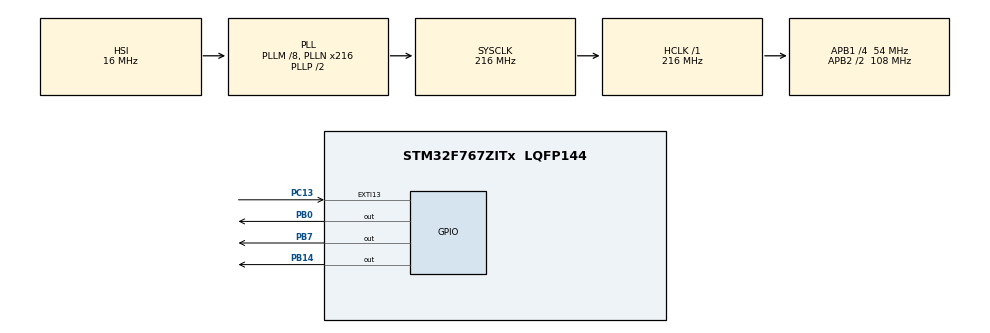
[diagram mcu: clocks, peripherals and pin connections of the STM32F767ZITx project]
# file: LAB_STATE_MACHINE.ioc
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CORTEX_M7.default_mode_Activation=1
Mcu.Family=STM32F7
Mcu.Name=STM32F767ZITx
Mcu.Package=LQFP144
NVIC.EXTI15_10_IRQn=true\:1\:0\:true\:false\:true\:true\:true\:true
NVIC.PriorityGroup=NVIC_PRIORITYGROUP_1
PB0.Signal=GPIO_Output
PB14.Signal=GPIO_Output
PB7.Signal=GPIO_Output
PC13.Signal=GPXTI13
ProjectManager.HeapSize=0x200
ProjectManager.StackSize=0x400
ProjectManager.TargetToolchain=STM32CubeIDE
RCC.AHBFreq_Value=216000000
RCC.APB1CLKDivider=RCC_HCLK_DIV4
RCC.APB1Freq_Value=54000000
RCC.APB1TimFreq_Value=108000000
RCC.APB2CLKDivider=RCC_HCLK_DIV2
RCC.APB2Freq_Value=108000000
RCC.APB2TimFreq_Value=216000000
RCC.CortexFreq_Value=216000000
RCC.HCLKFreq_Value=216000000
RCC.HSE_VALUE=25000000
RCC.HSI_VALUE=16000000
RCC.LSE_VALUE=32768
RCC.PLLM=8
RCC.PLLN=216
RCC.SYSCLKFreq_VALUE=216000000
RCC.SYSCLKSource=RCC_SYSCLKSOURCE_PLLCLK
RCC.USBFreq_Value=216000000
RCC.VCOOutputFreq_Value=432000000
board=custom

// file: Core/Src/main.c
/* USER CODE BEGIN Header */
/**
 ******************************************************************************
 * @file           : main.c
 * @brief          : Main program body
 ******************************************************************************
 * @attention
 *
 * Copyright (c) 2025 STMicroelectronics.
 * All rights reserved.
 *
 * This software is licensed under terms that can be found in the LICENSE file
 * in the root directory of this software component.
 * If no LICENSE file comes with this software, it is provided AS-IS.
 *
 ******************************************************************************
 */
/* USER CODE END Header */
#include "main.h"

/* USER CODE BEGIN PV */
uint8_t state = 0;
/* USER CODE END PV */

void SystemClock_Config(void);
static void MPU_Config(void);
static void MX_GPIO_Init(void);
/* USER CODE BEGIN PFP */
void Change_State(void);
/* USER CODE END PFP */

int main(void)
{

  /* MPU Configuration--------------------------------------------------------*/
  MPU_Config();

  /* MCU Configuration--------------------------------------------------------*/

  /* Reset of all peripherals, Initializes the Flash interface and the Systick. */
  HAL_Init();

  /* Configure the system clock */
  SystemClock_Config();

  /* Initialize all configured peripherals */
  MX_GPIO_Init();

  /* Infinite loop */
  while (1)
  {

    /* USER CODE BEGIN 3 */
    switch (state)
    {
    	case 0:
    		GPIOB->BSRR = 0xFFFF0000;
    		break;
    	case 1:
    		GPIOB->BSRR = 0xFFFF0001;
    		break;
    	case 2:
    		GPIOB->BSRR = 0xFFFF0080;
    	    break;
    	case 3:
    		GPIOB->BSRR = 0xFFFF0081;
    	    break;
    	case 4:
    	 	GPIOB->BSRR = 0xFFFF4000;
    	    break;
    	case 5:
    		GPIOB->BSRR = 0xFFFF4001;
    	    break;
    	case 6:
    		GPIOB->BSRR = 0xFFFF4080;
    	    break;
    	case 7:
    		GPIOB->BSRR = 0xFFFF4081;
    	    break;
    	default:
    		GPIOB->BSRR = 0xFFFF0000;
			break;
    }
  }
  /* USER CODE END 3 */
}

void SystemClock_Config(void)
{
  RCC_OscInitTypeDef RCC_OscInitStruct = {0};
  RCC_ClkInitTypeDef RCC_ClkInitStruct = {0};

  /** Configure the main internal regulator output voltage
  */
  __HAL_RCC_PWR_CLK_ENABLE();
  __HAL_PWR_VOLTAGESCALING_CONFIG(PWR_REGULATOR_VOLTAGE_SCALE1);

  /** Initializes the RCC Oscillators according to the specified parameters
  * in the RCC_OscInitTypeDef structure.
  */
  RCC_OscInitStruct.OscillatorType = RCC_OSCILLATORTYPE_HSI;
  RCC_OscInitStruct.HSIState = RCC_HSI_ON;
  RCC_OscInitStruct.HSICalibrationValue = RCC_HSICALIBRATION_DEFAULT;
  RCC_OscInitStruct.PLL.PLLState = RCC_PLL_ON;
  RCC_OscInitStruct.PLL.PLLSource = RCC_PLLSOURCE_HSI;
  RCC_OscInitStruct.PLL.PLLM = 8;
  RCC_OscInitStruct.PLL.PLLN = 216;
  RCC_OscInitStruct.PLL.PLLP = RCC_PLLP_DIV2;
  RCC_OscInitStruct.PLL.PLLQ = 2;
  RCC_OscInitStruct.PLL.PLLR = 2;
  if (HAL_RCC_OscConfig(&RCC_OscInitStruct) != HAL_OK)
  {
    Error_Handler();
  }

  /** Activate the Over-Drive mode
  */
  if (HAL_PWREx_EnableOverDrive() != HAL_OK)
  {
    Error_Handler();
  }

  /** Initializes the CPU, AHB and APB buses clocks
  */
  RCC_ClkInitStruct.ClockType = RCC_CLOCKTYPE_HCLK|RCC_CLOCKTYPE_SYSCLK
                              |RCC_CLOCKTYPE_PCLK1|RCC_CLOCKTYPE_PCLK2;
  RCC_ClkInitStruct.SYSCLKSource = RCC_SYSCLKSOURCE_PLLCLK;
  RCC_ClkInitStruct.AHBCLKDivider = RCC_SYSCLK_DIV1;
  RCC_ClkInitStruct.APB1CLKDivider = RCC_HCLK_DIV4;
  RCC_ClkInitStruct.APB2CLKDivider = RCC_HCLK_DIV2;

  if (HAL_RCC_ClockConfig(&RCC_ClkInitStruct, FLASH_LATENCY_7) != HAL_OK)
  {
    Error_Handler();
  }
}

static void MX_GPIO_Init(void)
{
  GPIO_InitTypeDef GPIO_InitStruct = {0};

  /* GPIO Ports Clock Enable */
  __HAL_RCC_GPIOC_CLK_ENABLE();
  __HAL_RCC_GPIOB_CLK_ENABLE();

  /*Configure GPIO pin Output Level */
  HAL_GPIO_WritePin(GPIOB, GPIO_PIN_0|GPIO_PIN_14|GPIO_PIN_7, GPIO_PIN_RESET);

  /*Configure GPIO pin : PC13 */
  GPIO_InitStruct.Pin = GPIO_PIN_13;
  GPIO_InitStruct.Mode = GPIO_MODE_IT_RISING;
  GPIO_InitStruct.Pull = GPIO_NOPULL;
  HAL_GPIO_Init(GPIOC, &GPIO_InitStruct);

  /*Configure GPIO pins : PB0 PB14 PB7 */
  GPIO_InitStruct.Pin = GPIO_PIN_0|GPIO_PIN_14|GPIO_PIN_7;
  GPIO_InitStruct.Mode = GPIO_MODE_OUTPUT_PP;
  GPIO_InitStruct.Pull = GPIO_NOPULL;
  GPIO_InitStruct.Speed = GPIO_SPEED_FREQ_LOW;
  HAL_GPIO_Init(GPIOB, &GPIO_InitStruct);

  /* EXTI interrupt init*/
  HAL_NVIC_SetPriority(EXTI15_10_IRQn, 1, 0);
  HAL_NVIC_EnableIRQ(EXTI15_10_IRQn);

}

/* USER CODE BEGIN 4 */
void HAL_GPIO_EXTI_Callback(uint16_t GPIO_Pin)
{
	if (GPIO_Pin == GPIO_PIN_13)
		Change_State();
}

void Change_State(void)
{
	if (state == 7)
    {
		state = 0;
	}
	else
	{
		state++;
	}
}
/* USER CODE END 4 */

 /* MPU Configuration */

void MPU_Config(void)
{
  MPU_Region_InitTypeDef MPU_InitStruct = {0};

  /* Disables the MPU */
  HAL_MPU_Disable();

  /** Initializes and configures the Region and the memory to be protected
  */
  MPU_InitStruct.Enable = MPU_REGION_ENABLE;
  MPU_InitStruct.Number = MPU_REGION_NUMBER0;
  MPU_InitStruct.BaseAddress = 0x0;
  MPU_InitStruct.Size = MPU_REGION_SIZE_4GB;
  MPU_InitStruct.SubRegionDisable = 0x87;
  MPU_InitStruct.TypeExtField = MPU_TEX_LEVEL0;
  MPU_InitStruct.AccessPermission = MPU_REGION_NO_ACCESS;
  MPU_InitStruct.DisableExec = MPU_INSTRUCTION_ACCESS_DISABLE;
  MPU_InitStruct.IsShareable = MPU_ACCESS_SHAREABLE;
  MPU_InitStruct.IsCacheable = MPU_ACCESS_NOT_CACHEABLE;
  MPU_InitStruct.IsBufferable = MPU_ACCESS_NOT_BUFFERABLE;

  HAL_MPU_ConfigRegion(&MPU_InitStruct);
  /* Enables the MPU */
  HAL_MPU_Enable(MPU_PRIVILEGED_DEFAULT);

}

void Error_Handler(void)
{
  __disable_irq();
  while (1)
  {
  }
}
